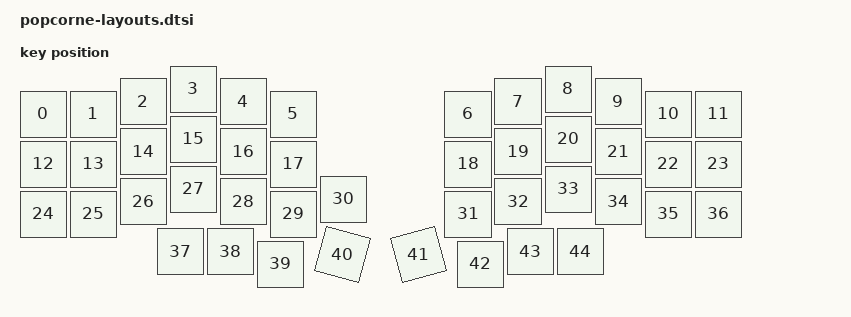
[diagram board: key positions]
#include <physical_layouts.dtsi>

/ {
    popcorne_layout: popcorne_layout {
        compatible = "zmk,physical-layout";
        display-name = "LAYOUT";
        kscan = <&kscan0>;
        transform = <&matrix_transform0>;

        keys  //                     w   h    x    y     rot    rx    ry
            = <&key_physical_attrs 100 100    0   50       0     0     0>
            , <&key_physical_attrs 100 100  100   50       0     0     0>
            , <&key_physical_attrs 100 100  200   25       0     0     0>
            , <&key_physical_attrs 100 100  300    0       0     0     0>
            , <&key_physical_attrs 100 100  400   25       0     0     0>
            , <&key_physical_attrs 100 100  500   50       0     0     0>
            , <&key_physical_attrs 100 100  850   50       0     0     0>
            , <&key_physical_attrs 100 100  950   25       0     0     0>
            , <&key_physical_attrs 100 100 1050    0       0     0     0>
            , <&key_physical_attrs 100 100 1150   25       0     0     0>
            , <&key_physical_attrs 100 100 1250   50       0     0     0>
            , <&key_physical_attrs 100 100 1350   50       0     0     0>
            , <&key_physical_attrs 100 100    0  150       0     0     0>
            , <&key_physical_attrs 100 100  100  150       0     0     0>
            , <&key_physical_attrs 100 100  200  125       0     0     0>
            , <&key_physical_attrs 100 100  300  100       0     0     0>
            , <&key_physical_attrs 100 100  400  125       0     0     0>
            , <&key_physical_attrs 100 100  500  150       0     0     0>
            , <&key_physical_attrs 100 100  850  150       0     0     0>
            , <&key_physical_attrs 100 100  950  125       0     0     0>
            , <&key_physical_attrs 100 100 1050  100       0     0     0>
            , <&key_physical_attrs 100 100 1150  125       0     0     0>
            , <&key_physical_attrs 100 100 1250  150       0     0     0>
            , <&key_physical_attrs 100 100 1350  150       0     0     0>
            , <&key_physical_attrs 100 100    0  250       0     0     0>
            , <&key_physical_attrs 100 100  100  250       0     0     0>
            , <&key_physical_attrs 100 100  200  225       0     0     0>
            , <&key_physical_attrs 100 100  300  200       0     0     0>
            , <&key_physical_attrs 100 100  400  225       0     0     0>
            , <&key_physical_attrs 100 100  500  250       0     0     0>
            , <&key_physical_attrs 100 100  600  220       0     0     0>
            , <&key_physical_attrs 100 100  850  250       0     0     0>
            , <&key_physical_attrs 100 100  950  225       0     0     0>
            , <&key_physical_attrs 100 100 1050  200       0     0     0>
            , <&key_physical_attrs 100 100 1150  225       0     0     0>
            , <&key_physical_attrs 100 100 1250  250       0     0     0>
            , <&key_physical_attrs 100 100 1350  250       0     0     0>
            , <&key_physical_attrs 100 100  275  325       0     0     0>
            , <&key_physical_attrs 100 100  375  325       0     0     0>
            , <&key_physical_attrs 100 100  475  350       0     0     0>
            , <&key_physical_attrs 100 100  675  150    1500     0     0>
            , <&key_physical_attrs 100 100  625  525 (-1500)     0     0>
            , <&key_physical_attrs 100 100  875  350       0     0     0>
            , <&key_physical_attrs 100 100  975  325       0     0     0>
            , <&key_physical_attrs 100 100 1075  325       0     0     0>
            ;
    };
};
